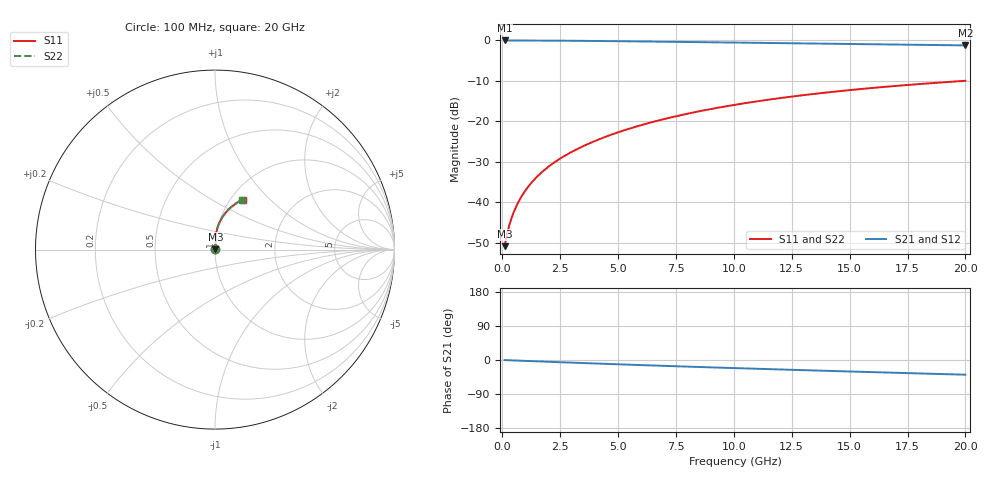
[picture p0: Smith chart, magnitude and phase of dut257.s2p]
! Touchstone file exported from HFSS 2024.1.0
!  File:  C:/UserFiles/LocalFiles/RDL_TSV_Batchsim/temp_RDL_bottom_257_1778701955.aedt
!  Generated:  03:54:57 AM May 14, 2026
!  Design:  RDL_bottom
!  Project:  temp_RDL_bottom_257_1778701955
!  Setup:  Setup1
!  Solution:  Sweep
! Variables:
!  dtsv = 10.80580581um
!  hbump = 3um
!  htsv = 80um
!  ldown = 567.26um
!  lrdl = 100um
!  p = 40
!  p1 = 49.27um
!  rhole = 1um
!  t = 450um
!  tdown = 3.64um
!  trdl = 3.915915916um
!  wdown = 25.17um
!  wrdl = 20um
# GHz S MA R 50.000000
! Terminal data exported
! Port[1] = RDL1_T1
! Port[2] = RDL1_T2
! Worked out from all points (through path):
!   200 points, 100 MHz to 20 GHz, reference 50 ohm
!   highest |S21| = -0.02 dB at 100 MHz (marker M1); lowest = -1.2 dB at 20 GHz (marker M2)
!   group delay of S21, straight-line fit = 5.32 ps
!   lowest |S11| = -50.8 dB at 100 MHz (marker M3), VSWR 1.01, Z = 50.2 + j0.159 ohm
!   |S11| at or under -10 dB: start of sweep to 19.95 GHz
!   |S22| runs from -50.8 to -10.0 dB; largest |S21 - S12| = 3.4e-15
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0.1  0.002889 33.1  0.9976 -0.3  0.9976 -0.3  0.002889 33.1
! Gamma 0 0 0 0
! Port Impedance 50 0 50 0
0.2  0.003995 49.9  0.9974 -0.5  0.9974 -0.5  0.003995 49.9
0.3  0.005204 58.5  0.9972 -0.7  0.9972 -0.7  0.005204 58.5
0.4  0.006427 64.0  0.997 -1.0  0.997 -1.0  0.006427 64.0
0.5  0.007662 67.9  0.9968 -1.2  0.9968 -1.2  0.007662 67.9
0.6  0.008914 70.8  0.9966 -1.4  0.9966 -1.4  0.008913 70.8
0.8  0.01146 75.0  0.9963 -1.9  0.9963 -1.9  0.01146 75.1
1.1  0.01539 79.0  0.9957 -2.6  0.9957 -2.6  0.01539 79.0
1.3  0.01807 80.7  0.9952 -3.1  0.9952 -3.1  0.01807 80.7
1.6  0.02214 82.6  0.9944 -3.8  0.9944 -3.8  0.02214 82.6
2.1  0.02909 84.6  0.9927 -4.9  0.9927 -4.9  0.0291 84.6
2.7  0.0377 85.9  0.9902 -6.3  0.9902 -6.3  0.03771 86.0
3.5  0.04962 86.8  0.9861 -8.1  0.9861 -8.1  0.04965 86.9
4.2  0.06048 87.0  0.982 -9.7  0.982 -9.7  0.06053 87.1
5  0.07334 86.8  0.9768 -11.4  0.9768 -11.4  0.07342 86.9
6.8  0.1036 85.1  0.964 -15.1  0.964 -15.1  0.1038 85.2
8.4  0.1315 82.7  0.9521 -18.3  0.9521 -18.3  0.1317 82.8
10.1  0.1613 79.7  0.9393 -21.5  0.9393 -21.5  0.1616 79.8
11.7  0.1889 76.7  0.9274 -24.5  0.9274 -24.5  0.1894 76.8
13.4  0.2175 73.4  0.9148 -27.5  0.9148 -27.5  0.218 73.5
16.7  0.2698 67.1  0.8907 -33.3  0.8907 -33.3  0.2704 67.2
20  0.3169 61.0  0.867 -38.8  0.867 -38.8  0.3177 61.2
